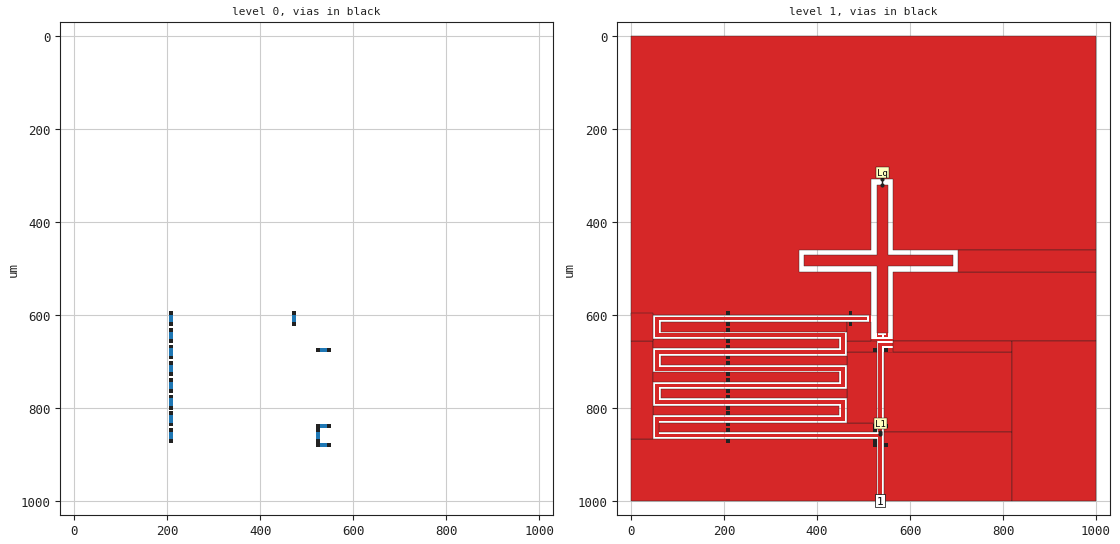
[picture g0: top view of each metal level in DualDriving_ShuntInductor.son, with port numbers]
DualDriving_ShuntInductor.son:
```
FTYP SONPROJ 15 ! Sonnet Project File
VER 16.52
HEADER
LIC calt2.2.43068 b4ae2bd1247e DESKTOP-SL82IK9 Michael
DAT 06/24/2016 20:27:59
BUILT_BY_CREATED xgeom 16.52 04/11/2016 14:48:12
BUILT_BY_SAVED xgeom 16.52
MDATE 06/24/2016 20:24:50
HDATE 06/24/2016 20:24:50
END HEADER
DIM
FREQ GHZ
IND NH
LNG UM
ANG DEG
CON /OH
CAP PF
RES OH
END DIM
FREQ
ABS 1.0 26.0 
END FREQ
CONTROL
ABS
OPTIONS  -dj 
SPEED 0
CACHE_ABS 1
TARG_ABS 300
Q_ACC Y
DET_ABS_RES Y
END CONTROL
GEO
DRP1 RIGHT FIX 100
TMET "Lossless" 0 SUP 0 0 0 0
BMET "Lossless" 0 SUP 0 0 0 0
BOX 3 1000 1000 500 500 20 0
      500 1 1 0 0 0 0 "Unnamed"
      10 1 1 0 0 0 0 "Unnamed"
      500 11.9 1 5e-006 0 0 0 "Silicon (intrinsic)"
      500 1 1 0 0 0 0 "Unnamed"
LORGN 0 1000 U 
POR1 STD
POLY 30 1
2
1 50 0 0 0 536.0000043 1000 
SMD 1 "Lq"
ID 24
GNDREF F
TWTYPE CUST
TWVALUE 4
SBOX 537 543 310.9999967 316.9999968
PBSHW N
LPOS 540 310.9999967
TYPE IDEAL IND 9.4
SMDP 1 540 307.9999967 T 2 1 
SMDP 1 540 319.9999969 B 3 2 
END
SMD 1 "L1"
ID 123
GNDREF F
TWTYPE FEED
SBOX 534.9999678 536.9999889 852.9999683 854.9999894
PBSHW N
LPOS 535.9999783 852.9999683
TYPE IDEAL IND 1
SMDP 1 535.9999783 851.9999577 T 4 1 
SMDP 1 535.9999783 856 B 5 2 
END
NUM 88
0 5 -1 N 11 1 1 100 100 0 0 0 Y
520 844
528 844
528 876
520 876
520 844
END
0 5 -1 N 12 1 1 100 100 0 0 0 Y
468 592
476 592
476 624
468 624
468 592
END
0 5 -1 N 13 1 1 100 100 0 0 0 Y
204 844
212 844
212 876
204 876
204 844
END
0 5 -1 N 14 1 1 100 100 0 0 0 Y
204 808
212 808
212 840
204 840
204 808
END
0 5 -1 N 15 1 1 100 100 0 0 0 Y
204 772
212 772
212 804
204 804
204 772
END
0 5 -1 N 16 1 1 100 100 0 0 0 Y
204 736
212 736
212 768
204 768
204 736
END
0 5 -1 N 17 1 1 100 100 0 0 0 Y
204 700
212 700
212 732
204 732
204 700
END
0 5 -1 N 18 1 1 100 100 0 0 0 Y
204 664
212 664
212 696
204 696
204 664
END
0 5 -1 N 19 1 1 100 100 0 0 0 Y
204 628
212 628
212 660
204 660
204 628
END
0 5 -1 N 20 1 1 100 100 0 0 0 Y
204 592
212 592
212 624
204 624
204 592
END
VIA POLYGON
0 5 -1 N 112 1 1 100 100 0 0 0 Y
TOLEVEL 1 RING NOCOVERS
520 672
528 672
528 680
520 680
520 672
END
VIA POLYGON
0 5 -1 N 113 1 1 100 100 0 0 0 Y
TOLEVEL 1 RING NOCOVERS
544 672
552 672
552 680
544 680
544 672
END
0 5 -1 N 114 1 1 100 100 0 0 0 Y
520 672
552 672
552 680
520 680
520 672
END
0 5 -1 N 116 1 1 100 100 0 0 0 Y
520 836
552 836
552 844
520 844
520 836
END
VIA POLYGON
0 5 -1 N 117 1 1 100 100 0 0 0 Y
TOLEVEL 1 RING NOCOVERS
520 836
528 836
528 844
520 844
520 836
END
VIA POLYGON
0 5 -1 N 118 1 1 100 100 0 0 0 Y
TOLEVEL 1 RING NOCOVERS
544 836
552 836
552 844
544 844
544 836
END
0 5 -1 N 119 1 1 100 100 0 0 0 Y
520 876
552 876
552 884
520 884
520 876
END
VIA POLYGON
0 5 -1 N 120 1 1 100 100 0 0 0 Y
TOLEVEL 1 RING NOCOVERS
520 876
528 876
528 884
520 884
520 876
END
VIA POLYGON
0 5 -1 N 121 1 1 100 100 0 0 0 Y
TOLEVEL 1 RING NOCOVERS
544 876
552 876
552 884
544 884
544 876
END
1 13 -1 N 27 1 1 100 100 0 0 0 Y
552 496
691.9999709 496
691.9999709 472
552 472
552 319.9999969
528 319.9999969
528 472
372 472
372 496
528 496
528 639.9999909
552 639.9999909
552 496
END
1 7 -1 N 28 1 1 100 100 0 0 0 Y
1000 508.0000194
704 508.0000194
704 508
564.0000504 508
564.0000504 656.0000136
1000 656.0000136
1000 508.0000194
END
1 15 -1 N 29 1 1 100 100 0 0 0 Y
516.0000126 508
360.0000125 508
360.0000125 460
516 460
516 307.9999967
564 307.9999967
564 460
1000 460
1000 236
1000 0
0 0
0 236
0 599.9999955
516.0000126 599.9999955
516.0000126 508
END
1 5 -1 N 30 1 1 100 100 0 0 0 Y
532.0000085 864.000045
540 864.000045
540 1000
532.0000085 1000
532.0000085 864.000045
END
1 5 -1 N 32 1 1 100 100 0 0 0 Y
52.00001941 856
527.9999544 856
527.9999544 863.9999955
52.00001941 863.9999955
52.00001941 856
END
1 5 -1 N 33 1 1 100 100 0 0 0 Y
532 659.9999851
539.9999567 659.9999851
539.9999567 851.9999577
532 851.9999577
532 659.9999851
END
1 5 -1 N 34 1 1 100 100 0 0 0 Y
540 660
564 660
564 668.0000147
540 668.0000147
540 660
END
1 5 -1 N 35 1 1 100 100 0 0 0 Y
516.0000126 651.9999917
564.0000504 651.9999917
564.0000504 656.0000136
516.0000126 656.0000136
516.0000126 651.9999917
END
1 5 -1 N 36 1 1 100 100 0 0 0 Y
544.0000158 680.0000401
820 680.0000401
820 852
544.0000158 852
544.0000158 680.0000401
END
1 5 -1 N 37 1 1 100 100 0 0 0 Y
544 852
820 852
820 1000
544 1000
544 852
END
1 5 -1 N 38 1 1 100 100 0 0 0 Y
-2.312681663e-005 868.0000278
528.0000077 868.0000278
528.0000077 1000
-2.312681663e-005 1000
-2.312681663e-005 868.0000278
END
1 5 -1 N 39 1 1 100 100 0 0 0 Y
51.9999738 820
460 820
460 828.0000247
51.9999738 828.0000247
51.9999738 820
END
1 5 -1 N 40 1 1 100 100 0 0 0 Y
51.9999738 828.0000247
60 828.0000247
60 856
51.9999738 856
51.9999738 828.0000247
END
1 5 -1 N 41 1 1 100 100 0 0 0 Y
60 832
528.0000117 832
528.0000117 852
60 852
60 832
END
1 5 -1 N 42 1 1 100 100 0 0 0 Y
51.9999738 784
460 784
460 792.0000247
51.9999738 792.0000247
51.9999738 784
END
1 5 -1 N 43 1 1 100 100 0 0 0 Y
48.00002069 796
447.9999812 796
447.9999812 816
48.00002069 816
48.00002069 796
END
1 5 -1 N 44 1 1 100 100 0 0 0 Y
452 792.0000247
460 792.0000247
460 820
452 820
452 792.0000247
END
1 5 -1 N 45 1 1 100 100 0 0 0 Y
464 680
528.0000117 680
528.0000117 832
464 832
464 680
END
1 5 -1 N 46 1 1 100 100 0 0 0 Y
-2.312681663e-005 656.0000136
48 656.0000136
48 868.0000278
-2.312681663e-005 868.0000278
-2.312681663e-005 656.0000136
END
1 5 -1 N 47 1 1 100 100 0 0 0 Y
544.0000139 671.9999671
820 671.9999671
820 680.0000401
544.0000139 680.0000401
544.0000139 671.9999671
END
1 5 -1 N 48 1 1 100 100 0 0 0 Y
564.0000176 656.0000136
820 656.0000136
820 680.0000401
564.0000176 680.0000401
564.0000176 656.0000136
END
1 5 -1 N 49 1 1 100 100 0 0 0 Y
528 639.9999909
532 639.9999909
532 648
528 648
528 639.9999909
END
1 5 -1 N 50 1 1 100 100 0 0 0 Y
548 639.9999909
552 639.9999909
552 648
548 648
548 639.9999909
END
1 5 -1 N 51 1 1 100 100 0 0 0 Y
532 643.9999954
540.0000351 643.9999954
540.0000351 648
532 648
532 643.9999954
END
1 5 -1 N 52 1 1 100 100 0 0 0 Y
544 643.9999954
548 643.9999954
548 648
544 648
544 643.9999954
END
1 5 -1 N 53 1 1 100 100 0 0 0 Y
464 656.0000136
528 656.0000136
528 680
464 680
464 656.0000136
END
1 5 -1 N 54 1 1 100 100 0 0 0 Y
704 460
1000 460
1000 508.0000194
704 508.0000194
704 460
END
1 5 -1 N 55 1 1 100 100 0 0 0 Y
820 656.0000136
1000 656.0000136
1000 1000
820 1000
820 656.0000136
END
1 5 -1 N 56 1 1 100 100 0 0 0 Y
51.9999738 756.0000247
60 756.0000247
60 784
51.9999738 784
51.9999738 756.0000247
END
1 5 -1 N 57 1 1 100 100 0 0 0 Y
51.9999738 748
460 748
460 756.0000247
51.9999738 756.0000247
51.9999738 748
END
1 5 -1 N 58 1 1 100 100 0 0 0 Y
48.00002069 724
447.9999812 724
447.9999812 744
48.00002069 744
48.00002069 724
END
1 5 -1 N 59 1 1 100 100 0 0 0 Y
51.9999738 712
460 712
460 720.0000247
51.9999738 720.0000247
51.9999738 712
END
1 5 -1 N 60 1 1 100 100 0 0 0 Y
452 720.0000247
460 720.0000247
460 748
452 748
452 720.0000247
END
1 5 -1 N 61 1 1 100 100 0 0 0 Y
64.00002069 760
463.9999812 760
463.9999812 780
64.00002069 780
64.00002069 760
END
1 5 -1 N 62 1 1 100 100 0 0 0 Y
51.9999738 684.0000247
60 684.0000247
60 712
51.9999738 712
51.9999738 684.0000247
END
1 5 -1 N 63 1 1 100 100 0 0 0 Y
64.00002069 688
463.9999812 688
463.9999812 708
64.00002069 708
64.00002069 688
END
1 5 -1 N 64 1 1 100 100 0 0 0 Y
51.9999738 676
460 676
460 684.0000247
51.9999738 684.0000247
51.9999738 676
END
1 5 -1 N 65 1 1 100 100 0 0 0 Y
48.00002069 652
447.9999812 652
447.9999812 672
48.00002069 672
48.00002069 652
END
1 5 -1 N 66 1 1 100 100 0 0 0 Y
452 648.0000247
460 648.0000247
460 676
452 676
452 648.0000247
END
1 5 -1 N 67 1 1 100 100 0 0 0 Y
51.9999738 640
460 640
460 648.0000247
51.9999738 648.0000247
51.9999738 640
END
1 5 -1 N 68 1 1 100 100 0 0 0 Y
51.9999738 612.0000247
60 612.0000247
60 640
51.9999738 640
51.9999738 612.0000247
END
1 5 -1 N 69 1 1 100 100 0 0 0 Y
51.9999738 604
460 604
460 612.0000247
51.9999738 612.0000247
51.9999738 604
END
1 5 -1 N 70 1 1 100 100 0 0 0 Y
64.00002069 616
463.9999812 616
463.9999812 636
64.00002069 636
64.00002069 616
END
1 5 -1 N 71 1 1 100 100 0 0 0 Y
0 596.0000348
48 596.0000348
48 656.0000136
0 656.0000136
0 596.0000348
END
1 5 -1 N 72 1 1 100 100 0 0 0 Y
463.9999812 616
516 616
516 656.0000136
463.9999812 656.0000136
463.9999812 616
END
1 5 -1 N 73 1 1 100 100 0 0 0 Y
460 604
508 604
508 612
460 612
460 604
END
1 5 -1 N 74 1 1 100 100 0 0 0 Y
512 599.9999955
516.0000126 599.9999955
516.0000126 616
512 616
512 599.9999955
END
VIA POLYGON
1 5 -1 N 77 1 1 100 100 0 0 0 Y
TOLEVEL 0 RING NOCOVERS
520 868
528 868
528 876
520 876
520 868
END
VIA POLYGON
1 5 -1 N 78 1 1 100 100 0 0 0 Y
TOLEVEL 0 RING NOCOVERS
520 844
528 844
528 852
520 852
520 844
END
VIA POLYGON
1 5 -1 N 79 1 1 100 100 0 0 0 Y
TOLEVEL 0 RING NOCOVERS
468 616
476 616
476 624
468 624
468 616
END
VIA POLYGON
1 5 -1 N 80 1 1 100 100 0 0 0 Y
TOLEVEL 0 RING NOCOVERS
468 592
476 592
476 600
468 600
468 592
END
VIA POLYGON
1 5 -1 N 81 1 1 100 100 0 0 0 Y
TOLEVEL 0 RING NOCOVERS
204 868
212 868
212 876
204 876
204 868
END
VIA POLYGON
1 5 -1 N 82 1 1 100 100 0 0 0 Y
TOLEVEL 0 RING NOCOVERS
204 844
212 844
212 852
204 852
204 844
END
VIA POLYGON
1 5 -1 N 83 1 1 100 100 0 0 0 Y
TOLEVEL 0 RING NOCOVERS
204 832
212 832
212 840
204 840
204 832
END
VIA POLYGON
1 5 -1 N 84 1 1 100 100 0 0 0 Y
TOLEVEL 0 RING NOCOVERS
204 808
212 808
212 816
204 816
204 808
END
VIA POLYGON
1 5 -1 N 85 1 1 100 100 0 0 0 Y
TOLEVEL 0 RING NOCOVERS
204 796
212 796
212 804
204 804
204 796
END
VIA POLYGON
1 5 -1 N 86 1 1 100 100 0 0 0 Y
TOLEVEL 0 RING NOCOVERS
204 772
212 772
212 780
204 780
204 772
END
VIA POLYGON
1 5 -1 N 87 1 1 100 100 0 0 0 Y
TOLEVEL 0 RING NOCOVERS
204 760
212 760
212 768
204 768
204 760
END
VIA POLYGON
1 5 -1 N 88 1 1 100 100 0 0 0 Y
TOLEVEL 0 RING NOCOVERS
204 736
212 736
212 744
204 744
204 736
END
VIA POLYGON
1 5 -1 N 89 1 1 100 100 0 0 0 Y
TOLEVEL 0 RING NOCOVERS
204 724
212 724
212 732
204 732
204 724
END
VIA POLYGON
1 5 -1 N 90 1 1 100 100 0 0 0 Y
TOLEVEL 0 RING NOCOVERS
204 700
212 700
212 708
204 708
204 700
END
VIA POLYGON
1 5 -1 N 91 1 1 100 100 0 0 0 Y
TOLEVEL 0 RING NOCOVERS
204 688
212 688
212 696
204 696
204 688
END
VIA POLYGON
1 5 -1 N 92 1 1 100 100 0 0 0 Y
TOLEVEL 0 RING NOCOVERS
204 664
212 664
212 672
204 672
204 664
END
VIA POLYGON
1 5 -1 N 93 1 1 100 100 0 0 0 Y
TOLEVEL 0 RING NOCOVERS
204 652
212 652
212 660
204 660
204 652
END
VIA POLYGON
1 5 -1 N 94 1 1 100 100 0 0 0 Y
TOLEVEL 0 RING NOCOVERS
204 628
212 628
212 636
204 636
204 628
END
VIA POLYGON
1 5 -1 N 95 1 1 100 100 0 0 0 Y
TOLEVEL 0 RING NOCOVERS
204 616
212 616
212 624
204 624
204 616
END
VIA POLYGON
1 5 -1 N 96 1 1 100 100 0 0 0 Y
TOLEVEL 0 RING NOCOVERS
204 592
212 592
212 600
204 600
204 592
END
1 5 -1 N 108 1 1 100 100 0 0 0 Y
532 856
540 856
540 864
532 864
532 856
END
1 5 -1 N 115 1 1 100 100 0 0 0 Y
527.9999544 856
532.0000085 856
532.0000085 864.000045
527.9999544 864.000045
527.9999544 856
END
END GEO
OPT
MAX 100
VARS
END
END OPT
VARSWP
END VARSWP
QSG
IMPORT NO
EXTRA_METAL NO
UNITS NO
ALIGN NO
REF NO
VIEW_RES YES
METALS NO
USED YES
END QSG
```
